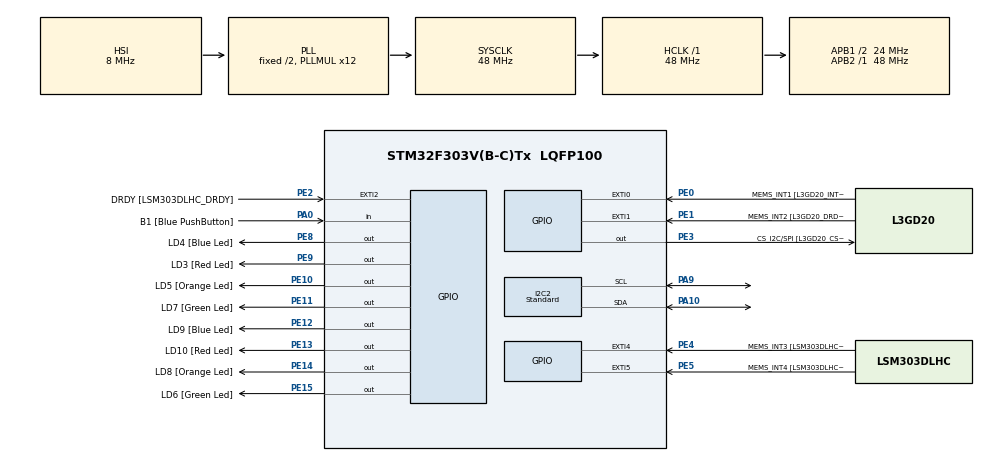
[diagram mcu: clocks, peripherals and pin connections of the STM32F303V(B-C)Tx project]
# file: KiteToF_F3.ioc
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I2C2.I2C_Speed_Mode=I2C_Standard
I2C2.Timing=0x2000090E
Mcu.Family=STM32F3
Mcu.Name=STM32F303V(B-C)Tx
Mcu.Package=LQFP100
NVIC.PriorityGroup=NVIC_PRIORITYGROUP_0
PA0.GPIO_Label=B1 [Blue PushButton]
PA0.GPIO_Mode=GPIO_MODE_INPUT
PA0.GPIO_PuPd=GPIO_NOPULL
PA0.Signal=GPIO_Input
PA10.Mode=I2C
PA10.Signal=I2C2_SDA
PA11.GPIO_Label=DM
PA11.Signal=USB_DM
PA12.GPIO_Label=DP
PA12.Signal=USB_DP
PA13.GPIO_Label=SWDIO
PA13.Signal=SYS_JTMS-SWDIO
PA14.GPIO_Label=SWCLK
PA14.Signal=SYS_JTCK-SWCLK
PA5.GPIO_Label=SPI1_SCK [L3GD20_SCL/SPC]
PA5.GPIO_Mode=GPIO_MODE_AF_PP
PA5.GPIO_PuPd=GPIO_NOPULL
PA5.GPIO_Speed=GPIO_SPEED_FREQ_LOW
PA5.Signal=SPI1_SCK
PA6.GPIO_Label=SPI1_MISO [L3GD20_SA0/SDO]
PA6.GPIO_Mode=GPIO_MODE_AF_PP
PA6.GPIO_PuPd=GPIO_NOPULL
PA6.GPIO_Speed=GPIO_SPEED_FREQ_LOW
PA6.Signal=SPI1_MISO
PA7.GPIO_Label=SPI1_MISO [L3GD20_SDA/SDI/SDO]
PA7.GPIO_Mode=GPIO_MODE_AF_PP
PA7.GPIO_PuPd=GPIO_NOPULL
PA7.GPIO_Speed=GPIO_SPEED_FREQ_LOW
PA7.Signal=SPI1_MOSI
PA9.Mode=I2C
PA9.Signal=I2C2_SCL
PB3.GPIO_Label=SWO
PB3.Signal=SYS_JTDO-TRACESWO
PB6.GPIO_FM6=__NULL
PB6.GPIO_Label=I2C1_SCL [LSM303DLHC_SCL]
PB6.GPIO_Mode=GPIO_MODE_AF_OD
PB6.GPIO_PuPd=GPIO_NOPULL
PB6.GPIO_Speed=GPIO_SPEED_FREQ_LOW
PB6.Signal=I2C1_SCL
PB7.GPIO_FM7=__NULL
PB7.GPIO_Label=I2C1_SDA [LSM303DLHC_SDA]
PB7.GPIO_Mode=GPIO_MODE_AF_OD
PB7.GPIO_PuPd=GPIO_NOPULL
PB7.GPIO_Speed=GPIO_SPEED_FREQ_LOW
PB7.Signal=I2C1_SDA
PC14-OSC32_IN.GPIO_Label=OSC32_IN
PC14-OSC32_IN.Signal=RCC_OSC32_IN
PC15-OSC32_OUT.GPIO_Label=OSC32_OUT
PC15-OSC32_OUT.Signal=RCC_OSC32_OUT
PE0.GPIO_Label=MEMS_INT1 [L3GD20_INT1]
PE0.GPIO_ModeDefaultEXTI=GPIO_MODE_EVT_RISING
PE0.GPIO_PuPd=GPIO_NOPULL
PE0.Signal=GPXTI0
PE1.GPIO_Label=MEMS_INT2 [L3GD20_DRDY/INT2]
PE1.GPIO_ModeDefaultEXTI=GPIO_MODE_EVT_RISING
PE1.GPIO_PuPd=GPIO_NOPULL
PE1.Signal=GPXTI1
PE10.GPIO_Label=LD5 [Orange Led]
PE10.GPIO_ModeDefaultOutputPP=GPIO_MODE_OUTPUT_PP
PE10.GPIO_PuPd=GPIO_NOPULL
PE10.GPIO_Speed=GPIO_SPEED_FREQ_LOW
PE10.Signal=GPIO_Output
PE11.GPIO_Label=LD7 [Green Led]
PE11.GPIO_ModeDefaultOutputPP=GPIO_MODE_OUTPUT_PP
PE11.GPIO_PuPd=GPIO_NOPULL
PE11.GPIO_Speed=GPIO_SPEED_FREQ_LOW
PE11.Signal=GPIO_Output
PE12.GPIO_Label=LD9 [Blue Led]
PE12.GPIO_ModeDefaultOutputPP=GPIO_MODE_OUTPUT_PP
PE12.GPIO_PuPd=GPIO_NOPULL
PE12.GPIO_Speed=GPIO_SPEED_FREQ_LOW
PE12.Signal=GPIO_Output
PE13.GPIO_Label=LD10 [Red Led]
PE13.GPIO_ModeDefaultOutputPP=GPIO_MODE_OUTPUT_PP
PE13.GPIO_PuPd=GPIO_NOPULL
PE13.GPIO_Speed=GPIO_SPEED_FREQ_LOW
PE13.Signal=GPIO_Output
PE14.GPIO_Label=LD8 [Orange Led]
PE14.GPIO_ModeDefaultOutputPP=GPIO_MODE_OUTPUT_PP
PE14.GPIO_PuPd=GPIO_NOPULL
PE14.GPIO_Speed=GPIO_SPEED_FREQ_LOW
PE14.Signal=GPIO_Output
PE15.GPIO_Label=LD6 [Green Led]
PE15.GPIO_ModeDefaultOutputPP=GPIO_MODE_OUTPUT_PP
PE15.GPIO_PuPd=GPIO_NOPULL
PE15.GPIO_Speed=GPIO_SPEED_FREQ_LOW
PE15.Signal=GPIO_Output
PE2.GPIO_Label=DRDY [LSM303DLHC_DRDY]
PE2.GPIO_ModeDefaultEXTI=GPIO_MODE_EVT_RISING
PE2.GPIO_PuPd=GPIO_NOPULL
PE2.Signal=GPXTI2
PE3.GPIO_Label=CS_I2C/SPI [L3GD20_CS_I2C/SPI]
PE3.GPIO_ModeDefaultOutputPP=GPIO_MODE_OUTPUT_PP
PE3.GPIO_PuPd=GPIO_NOPULL
PE3.GPIO_Speed=GPIO_SPEED_FREQ_LOW
PE3.Signal=GPIO_Output
PE4.GPIO_Label=MEMS_INT3 [LSM303DLHC_INT1]
PE4.GPIO_ModeDefaultEXTI=GPIO_MODE_EVT_RISING
PE4.GPIO_PuPd=GPIO_NOPULL
PE4.Signal=GPXTI4
PE5.GPIO_Label=MEMS_INT4 [LSM303DLHC_INT2]
PE5.GPIO_ModeDefaultEXTI=GPIO_MODE_EVT_RISING
PE5.GPIO_PuPd=GPIO_NOPULL
PE5.Signal=GPXTI5
PE8.GPIO_Label=LD4 [Blue Led]
PE8.GPIO_ModeDefaultOutputPP=GPIO_MODE_OUTPUT_PP
PE8.GPIO_PuPd=GPIO_NOPULL
PE8.GPIO_Speed=GPIO_SPEED_FREQ_LOW
PE8.Signal=GPIO_Output
PE9.GPIO_Label=LD3 [Red Led]
PE9.GPIO_ModeDefaultOutputPP=GPIO_MODE_OUTPUT_PP
PE9.GPIO_PuPd=GPIO_NOPULL
PE9.GPIO_Speed=GPIO_SPEED_FREQ_LOW
PE9.Signal=GPIO_Output
PF0-OSC_IN.GPIO_Label=OSC_IN
PF0-OSC_IN.Signal=RCC_OSC_IN
PF1-OSC_OUT.GPIO_Label=OSC_OUT
PF1-OSC_OUT.Signal=RCC_OSC_OUT
ProjectManager.HeapSize=0x200
ProjectManager.StackSize=0x400
ProjectManager.TargetToolchain=STM32CubeIDE
RCC.AHBFreq_Value=48000000
RCC.APB1CLKDivider=RCC_HCLK_DIV2
RCC.APB1Freq_Value=24000000
RCC.APB1TimFreq_Value=48000000
RCC.APB2Freq_Value=48000000
RCC.APB2TimFreq_Value=48000000
RCC.CortexFreq_Value=48000000
RCC.HCLKFreq_Value=48000000
RCC.HSE_VALUE=8000000
RCC.HSI_VALUE=8000000
RCC.LSE_VALUE=32768
RCC.PLLMUL=RCC_PLL_MUL12
RCC.SYSCLKFreq_VALUE=48000000
RCC.SYSCLKSourceVirtual=RCC_SYSCLKSOURCE_PLLCLK
RCC.USBFreq_Value=48000000
board=STM32F3DISCOVERY

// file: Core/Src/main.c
/* USER CODE BEGIN Header */
/**
  ******************************************************************************
  * @file           : main.c
  * @brief          : Main program body
  ******************************************************************************
  * @attention
  *
  * Copyright (c) 2022 STMicroelectronics.
  * All rights reserved.
  *
  * This software is licensed under terms that can be found in the LICENSE file
  * in the root directory of this software component.
  * If no LICENSE file comes with this software, it is provided AS-IS.
  *
  ******************************************************************************
  */
/* USER CODE END Header */
#include "main.h"

/* USER CODE BEGIN Includes */
#include "vl53l0x_api.h"
/* USER CODE END Includes */

/* USER CODE BEGIN PD */
#define ERR_DETECT             -1
/* USER CODE END PD */

 I2C_HandleTypeDef hi2c2;

/* USER CODE BEGIN PV */

/**
 * Global ranging struct
 */
VL53L0X_RangingMeasurementData_t RangingMeasurementData;

/** leaky factor for filtered range
 *
 * r(n) = averaged_r(n-1)*leaky +r(n)(1-leaky)
 *
 * */
int LeakyFactorFix8 = (int)( 0.6 *256);

/** How many device detect set by @a DetectSensors()*/
int nDevPresent=0;

/** bit is index in VL53L0XDevs that is not necessary the dev id of the BSP */
int nDevMask;
// EK ^ that is probably not needed after removing the for loop completely

VL53L0X_Dev_t VL53L0XDev = {
		.Id=0,
		.DevLetter='e',
		.I2cHandle=&hi2c2, // TODO: I2C_HandleTypeDef
		.I2cDevAddr=0x29 // EK: documentation says address is 0x29, why did the code say 0x52?
};

int range;
int range_mm;
/* USER CODE END PV */

void SystemClock_Config(void);
static void MX_GPIO_Init(void);
static void MX_I2C2_Init(void);
/* USER CODE BEGIN PFP */

void ResetAndDetectSensor(int SetDisplay); // TODO: add this function

/* USER CODE END PFP */

/* USER CODE BEGIN 0 */

/**
 * Handle Error
 *
 * Set err on display and loop forever
 * @param err Error case code
 */
void HandleError(int err){
    char msg[16];
    sprintf(msg,"Er%d", err);
    while(1){};
}

/**
 * Reset all sensor then do presence detection
 *
 * All present devices are data initiated and assigned to their final I2C address
 * @return
 */
int DetectSensors(int SetDisplay) {
    int i;
    uint16_t Id;
    int status;
    int FinalAddress;

    // EK unused char PresentMsg[5]="    ";
    /* Reset all */
    nDevPresent = 0;

    // EK: commenting this out, unclear if it's needed w/o an i2c expander
    /*
    for (i = 0; i < 3; i++)
        status = XNUCLEO53L0A1_ResetId(i, 0);
    */
    // EK: this function is in the HAL for that nucleo board
    // why would it be located there if it is for the sensor?
    // what is that code doing - something about an expander? why?

    /* detect all sensors (even on-board)*/
    // EK no need for for loop for (i = 0; i < 3; i++) {

    i = 0; // EK: in case anything is out there using i

    		VL53L0X_Dev_t *pDev;
        pDev = &VL53L0XDev; // EK: only using one //&VL53L0XDevs[i];
        pDev->I2cDevAddr = 0x29; // EK: documentation says address is 0x29, why did the code say 0x52? //0x52;
        pDev->Present = 0;
        status = 1; // EK: is this needed? XNUCLEO53L0A1_ResetId( pDev->Id, 1);
        HAL_Delay(2); // EK: why is this here
        FinalAddress= 0x29; // EK: see comment a few lines above about address // 0x52+(i+1)*2;

        do {
        	/* Set I2C standard mode (400 KHz) before doing the first register access */
        	// EK: why is this, just do it  if (status == VL53L0X_ERROR_NONE)
        	// EK let's not do this status = VL53L0X_WrByte(pDev, 0x88, 0x00);

        	/* Try to read one register using default 0x52 address */
            status = VL53L0X_RdWord(pDev, VL53L0X_REG_IDENTIFICATION_MODEL_ID, &Id);
            if (status) {
                printf("#%d Read id fail\n", i);
                break;
            }
            if (Id == 0xEEAA) {
				/* Sensor is found => Change its I2C address to final one */
                status = VL53L0X_SetDeviceAddress(pDev,FinalAddress);
                if (status != 0) {
                    printf("#%d VL53L0X_SetDeviceAddress fail\n", i);
                    break;
                }
                pDev->I2cDevAddr = FinalAddress;
                /* Check all is OK with the new I2C address and initialize the sensor */
                status = VL53L0X_RdWord(pDev, VL53L0X_REG_IDENTIFICATION_MODEL_ID, &Id);
                if (status != 0) {
					printf("#%d VL53L0X_RdWord fail\n", i);
					break;
				}

                status = VL53L0X_DataInit(pDev);
                if( status == 0 ){
                    pDev->Present = 1;
                }
                else{
                    printf("VL53L0X_DataInit %d fail\n", i);
                    break;
                }
                printf("VL53L0X %d Present and initiated to final 0x%x\n", pDev->Id, pDev->I2cDevAddr);
                nDevPresent++;
                nDevMask |= 1 << i;
                pDev->Present = 1;
            }
            else {
                printf("#%d unknown ID %x\n", i, Id);
                status = 1;
            }
        } while (0);
        /* if fail r can't use for any reason then put the  device back to reset */
        if (status) {
        	  printf("something failed"); // EK
            // EK why is this needed XNUCLEO53L0A1_ResetId(i, 0);
        }

    // EK no need for for loop }

    // EK: not needed
    /* Display detected sensor(s) */
    /*
    if( SetDisplay ){
        for(i=0; i<3; i++){
            if( VL53L0XDevs[i].Present ){
                PresentMsg[i+1]=VL53L0XDevs[i].DevLetter;
            }
        }
        PresentMsg[0]=' ';
        XNUCLEO53L0A1_SetDisplayString(PresentMsg);
        HAL_Delay(1000);
    }
    */

    return nDevPresent;
}

void ResetAndDetectSensor(int SetDisplay){
    int nSensor;
    nSensor = DetectSensors(SetDisplay);

    // EK added this
    if( VL53L0XDev.Present==0 )
    {
    	HandleError(ERR_DETECT);
    }

    /* at least one sensor and if one it must be the built-in one  */
    if( (nSensor <=0) ) { // EK ||  (nSensor ==1 && VL53L0XDevs[1].Present==0) ){
        HandleError(ERR_DETECT);
    }
}

VL53L0X_Error WaitStopCompleted(VL53L0X_DEV Dev) {
    VL53L0X_Error Status = VL53L0X_ERROR_NONE;
    uint32_t StopCompleted=0;
    uint32_t LoopNb;

    // Wait until it finished
    // use timeout to avoid deadlock
    if (Status == VL53L0X_ERROR_NONE) {
        LoopNb = 0;
        do {
            Status = VL53L0X_GetStopCompletedStatus(Dev, &StopCompleted);
            if ((StopCompleted == 0x00) || Status != VL53L0X_ERROR_NONE) {
                break;
            }
            LoopNb = LoopNb + 1;
            VL53L0X_PollingDelay(Dev);
        } while (LoopNb < VL53L0X_DEFAULT_MAX_LOOP);

        if (LoopNb >= VL53L0X_DEFAULT_MAX_LOOP) {
            Status = VL53L0X_ERROR_TIME_OUT;
        }

    }

    return Status;
}

/* USER CODE END 0 */

int main(void)
{

  /* MCU Configuration--------------------------------------------------------*/

  /* Reset of all peripherals, Initializes the Flash interface and the Systick. */
  HAL_Init();

  /* Configure the system clock */
  SystemClock_Config();

  /* Initialize all configured peripherals */
  MX_GPIO_Init();
  MX_I2C2_Init();
  /* USER CODE BEGIN 2 */

  //ResetAndDetectSensor(1); // EK TODO: the parameter SetDisplay doesn't matter

  // EK test1
  HAL_StatusTypeDef status;
	uint8_t pData;
	status = HAL_I2C_Mem_Read(&hi2c2, 0x52, 0xC0, 1, &pData, 1, HAL_TIMEOUT);
	// pData should be 0xEE
	if(status == HAL_OK) {
		printf("good");
	}
	//--

  // EK test2
  VL53L0X_Dev_t *pDev;
	pDev = &VL53L0XDev;
	pDev->I2cDevAddr = 0x52;
	pDev->Present = 0;

  int status2 = VL53L0X_DataInit(pDev);
	if( status2 == 0 ){
			pDev->Present = 1;
	}
	else{
			printf("VL53L0X_DataInit fail\n");
	}
	printf("VL53L0X %d Present and initiated to final 0x%x\n", pDev->Id, pDev->I2cDevAddr);
	pDev->Present = 1;
	//--

	// EK test3
	uint8_t VhvSettings;
	uint8_t PhaseCal;
	uint32_t refSpadCount;
	uint8_t isApertureSpads;
	VL53L0X_RangingMeasurementData_t RangingMeasurementData;
	//int range;

	// Initialize the device in continuous ranging mode
	VL53L0X_StaticInit(pDev);
	VL53L0X_PerformRefCalibration(pDev, &VhvSettings, &PhaseCal);
	VL53L0X_PerformRefSpadManagement(pDev, &refSpadCount, &isApertureSpads);
	//VL53L0X_SetInterMeasurementPeriodMilliSeconds(pDev, 250); // Program continuous mode Inter-Measurement period in milliseconds
	//VL53L0X_SetDeviceMode(pDev, VL53L0X_DEVICEMODE_CONTINUOUS_RANGING);
	VL53L0X_SetInterMeasurementPeriodMilliSeconds(pDev, 100);
	VL53L0X_SetDeviceMode(pDev, VL53L0X_DEVICEMODE_CONTINUOUS_TIMED_RANGING);

	// Start continuous ranging
	VL53L0X_StartMeasurement(pDev);

	/*
	for(uint8_t i=0; i<5; i++) {
		VL53L0X_GetRangingMeasurementData(pDev, &RangingMeasurementData);
		range = (int)RangingMeasurementData.RangeMilliMeter/10;
		HAL_Delay(100);
	}

	// Stop continuous ranging
	VL53L0X_StopMeasurement(pDev);

	// Ensure device is ready for other commands
	WaitStopCompleted(pDev);
	*/
	//--

  /* USER CODE END 2 */

  /* Infinite loop */
  /* USER CODE BEGIN WHILE */
  while (1)
  {

  	VL53L0X_GetRangingMeasurementData(pDev, &RangingMeasurementData);
		range = (int)RangingMeasurementData.RangeMilliMeter/10; // cm
		range_mm = (int)RangingMeasurementData.RangeMilliMeter; // mm
		//HAL_Delay(1000);

    /* USER CODE END WHILE */

  }
}

void SystemClock_Config(void)
{
  RCC_OscInitTypeDef RCC_OscInitStruct = {0};
  RCC_ClkInitTypeDef RCC_ClkInitStruct = {0};
  RCC_PeriphCLKInitTypeDef PeriphClkInit = {0};

  /** Initializes the RCC Oscillators according to the specified parameters
  * in the RCC_OscInitTypeDef structure.
  */
  RCC_OscInitStruct.OscillatorType = RCC_OSCILLATORTYPE_HSI;
  RCC_OscInitStruct.HSIState = RCC_HSI_ON;
  RCC_OscInitStruct.HSICalibrationValue = RCC_HSICALIBRATION_DEFAULT;
  RCC_OscInitStruct.PLL.PLLState = RCC_PLL_ON;
  RCC_OscInitStruct.PLL.PLLSource = RCC_PLLSOURCE_HSI;
  RCC_OscInitStruct.PLL.PLLMUL = RCC_PLL_MUL12;
  if (HAL_RCC_OscConfig(&RCC_OscInitStruct) != HAL_OK)
  {
    Error_Handler();
  }

  /** Initializes the CPU, AHB and APB buses clocks
  */
  RCC_ClkInitStruct.ClockType = RCC_CLOCKTYPE_HCLK|RCC_CLOCKTYPE_SYSCLK
                              |RCC_CLOCKTYPE_PCLK1|RCC_CLOCKTYPE_PCLK2;
  RCC_ClkInitStruct.SYSCLKSource = RCC_SYSCLKSOURCE_PLLCLK;
  RCC_ClkInitStruct.AHBCLKDivider = RCC_SYSCLK_DIV1;
  RCC_ClkInitStruct.APB1CLKDivider = RCC_HCLK_DIV2;
  RCC_ClkInitStruct.APB2CLKDivider = RCC_HCLK_DIV1;

  if (HAL_RCC_ClockConfig(&RCC_ClkInitStruct, FLASH_LATENCY_1) != HAL_OK)
  {
    Error_Handler();
  }
  PeriphClkInit.PeriphClockSelection = RCC_PERIPHCLK_I2C2;
  PeriphClkInit.I2c2ClockSelection = RCC_I2C2CLKSOURCE_HSI;
  if (HAL_RCCEx_PeriphCLKConfig(&PeriphClkInit) != HAL_OK)
  {
    Error_Handler();
  }
}

static void MX_I2C2_Init(void)
{

  hi2c2.Instance = I2C2;
  hi2c2.Init.Timing = 0x2000090E;
  hi2c2.Init.OwnAddress1 = 0;
  hi2c2.Init.AddressingMode = I2C_ADDRESSINGMODE_7BIT;
  hi2c2.Init.DualAddressMode = I2C_DUALADDRESS_DISABLE;
  hi2c2.Init.OwnAddress2 = 0;
  hi2c2.Init.OwnAddress2Masks = I2C_OA2_NOMASK;
  hi2c2.Init.GeneralCallMode = I2C_GENERALCALL_DISABLE;
  hi2c2.Init.NoStretchMode = I2C_NOSTRETCH_DISABLE;
  if (HAL_I2C_Init(&hi2c2) != HAL_OK)
  {
    Error_Handler();
  }

  /** Configure Analogue filter
  */
  if (HAL_I2CEx_ConfigAnalogFilter(&hi2c2, I2C_ANALOGFILTER_ENABLE) != HAL_OK)
  {
    Error_Handler();
  }

  /** Configure Digital filter
  */
  if (HAL_I2CEx_ConfigDigitalFilter(&hi2c2, 0) != HAL_OK)
  {
    Error_Handler();
  }

}

static void MX_GPIO_Init(void)
{
  GPIO_InitTypeDef GPIO_InitStruct = {0};

  /* GPIO Ports Clock Enable */
  __HAL_RCC_GPIOE_CLK_ENABLE();
  __HAL_RCC_GPIOC_CLK_ENABLE();
  __HAL_RCC_GPIOF_CLK_ENABLE();
  __HAL_RCC_GPIOA_CLK_ENABLE();
  __HAL_RCC_GPIOB_CLK_ENABLE();

  /*Configure GPIO pin Output Level */
  HAL_GPIO_WritePin(GPIOE, CS_I2C_SPI_Pin|LD4_Pin|LD3_Pin|LD5_Pin
                          |LD7_Pin|LD9_Pin|LD10_Pin|LD8_Pin
                          |LD6_Pin, GPIO_PIN_RESET);

  /*Configure GPIO pins : DRDY_Pin MEMS_INT3_Pin MEMS_INT4_Pin MEMS_INT1_Pin
                           MEMS_INT2_Pin */
  GPIO_InitStruct.Pin = DRDY_Pin|MEMS_INT3_Pin|MEMS_INT4_Pin|MEMS_INT1_Pin
                          |MEMS_INT2_Pin;
  GPIO_InitStruct.Mode = GPIO_MODE_EVT_RISING;
  GPIO_InitStruct.Pull = GPIO_NOPULL;
  HAL_GPIO_Init(GPIOE, &GPIO_InitStruct);

  /*Configure GPIO pins : CS_I2C_SPI_Pin LD4_Pin LD3_Pin LD5_Pin
                           LD7_Pin LD9_Pin LD10_Pin LD8_Pin
                           LD6_Pin */
  GPIO_InitStruct.Pin = CS_I2C_SPI_Pin|LD4_Pin|LD3_Pin|LD5_Pin
                          |LD7_Pin|LD9_Pin|LD10_Pin|LD8_Pin
                          |LD6_Pin;
  GPIO_InitStruct.Mode = GPIO_MODE_OUTPUT_PP;
  GPIO_InitStruct.Pull = GPIO_NOPULL;
  GPIO_InitStruct.Speed = GPIO_SPEED_FREQ_LOW;
  HAL_GPIO_Init(GPIOE, &GPIO_InitStruct);

  /*Configure GPIO pin : B1_Pin */
  GPIO_InitStruct.Pin = B1_Pin;
  GPIO_InitStruct.Mode = GPIO_MODE_INPUT;
  GPIO_InitStruct.Pull = GPIO_NOPULL;
  HAL_GPIO_Init(B1_GPIO_Port, &GPIO_InitStruct);

  /*Configure GPIO pins : SPI1_SCK_Pin SPI1_MISO_Pin SPI1_MISOA7_Pin */
  GPIO_InitStruct.Pin = SPI1_SCK_Pin|SPI1_MISO_Pin|SPI1_MISOA7_Pin;
  GPIO_InitStruct.Mode = GPIO_MODE_AF_PP;
  GPIO_InitStruct.Pull = GPIO_NOPULL;
  GPIO_InitStruct.Speed = GPIO_SPEED_FREQ_LOW;
  GPIO_InitStruct.Alternate = GPIO_AF5_SPI1;
  HAL_GPIO_Init(GPIOA, &GPIO_InitStruct);

  /*Configure GPIO pins : DM_Pin DP_Pin */
  GPIO_InitStruct.Pin = DM_Pin|DP_Pin;
  GPIO_InitStruct.Mode = GPIO_MODE_AF_PP;
  GPIO_InitStruct.Pull = GPIO_NOPULL;
  GPIO_InitStruct.Speed = GPIO_SPEED_FREQ_HIGH;
  GPIO_InitStruct.Alternate = GPIO_AF14_USB;
  HAL_GPIO_Init(GPIOA, &GPIO_InitStruct);

  /*Configure GPIO pins : I2C1_SCL_Pin I2C1_SDA_Pin */
  GPIO_InitStruct.Pin = I2C1_SCL_Pin|I2C1_SDA_Pin;
  GPIO_InitStruct.Mode = GPIO_MODE_AF_OD;
  GPIO_InitStruct.Pull = GPIO_NOPULL;
  GPIO_InitStruct.Speed = GPIO_SPEED_FREQ_LOW;
  GPIO_InitStruct.Alternate = GPIO_AF4_I2C1;
  HAL_GPIO_Init(GPIOB, &GPIO_InitStruct);

}

void Error_Handler(void)
{
  __disable_irq();
  while (1)
  {
  }
}
